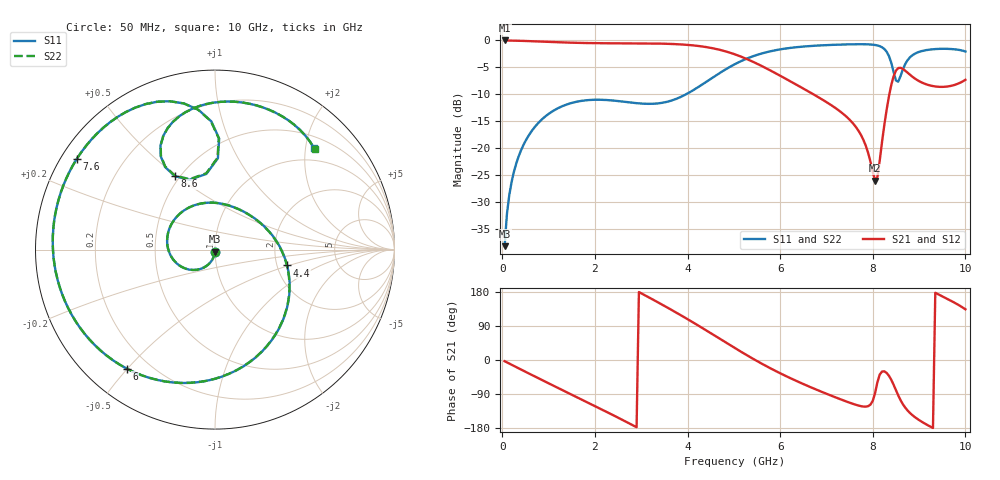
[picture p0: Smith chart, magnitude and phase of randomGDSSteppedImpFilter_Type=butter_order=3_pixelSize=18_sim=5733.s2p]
! freq	dB(S11)	phase(S11)	dB(S12)	phase(S12)
!  dB(S21)	phase(S21)	dB(S22)	phase(S22)
!S-par simulation data
#  GHz  S  DB  R 50
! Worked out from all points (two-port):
!   200 points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, 50 MHz to 10 GHz, reference 50 ohm
!   highest |S21| = -0.01 dB at 50 MHz (marker M1); lowest = -26.0 dB at 8.05 GHz (marker M2)
!   |S21| within 3 dB of the highest: start of sweep to 5.154 GHz
!   lowest |S11| = -38.2 dB at 50 MHz (marker M3), VSWR 1.02, Z = 49.9 - j1.22 ohm
!   |S11| at or under -10 dB: start of sweep to 3.97 GHz
!   |S22| runs from -38.2 to -0.7 dB; largest |S21 - S12| = 0
!   S11 on the Smith chart (normalised r, x): 50 MHz: 1.00, -0.02; 4.4 GHz: 2.27, -0.48; 6 GHz: 0.12, -0.50; 7.6 GHz: 0.04, +0.30; 8.6 GHz: 0.47, +0.49; 10 GHz: 0.73, +2.18
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0.05  -38.22 -92.9  -0.01 -3.2  -0.01 -3.2  -38.22 -92.9
0.1  -32.25 -96.0  -0.01 -6.3  -0.01 -6.3  -32.25 -96.0
0.2  -26.33 -102.4  -0.03 -12.5  -0.03 -12.5  -26.33 -102.4
0.5  -18.70 -121.5  -0.10 -31.0  -0.10 -31.0  -18.70 -121.5
1.15  -12.83 -161.1  -0.32 -70.5  -0.32 -70.5  -12.83 -161.2
1.75  -11.18 163.0  -0.48 -106.4  -0.48 -106.4  -11.18 162.9
2.65  -11.41 108.1  -0.53 -161.5  -0.53 -161.5  -11.41 107.7
3.4  -11.66 59.2  -0.59 149.6  -0.59 149.6  -11.66 58.6
3.95  -10.09 20.8  -0.80 111.4  -0.80 111.4  -10.09 20.2
4.4  -7.72 -12.4  -1.23 78.5  -1.23 78.5  -7.71 -12.8
5.05  -4.29 -61.5  -2.67 29.5  -2.67 29.5  -4.29 -61.8
5.55  -2.56 -97.4  -4.53 -6.1  -4.53 -6.1  -2.55 -97.6
6  -1.66 -126.6  -6.55 -35.0  -6.55 -35.0  -1.66 -126.7
6.7  -1.01 -166.5  -9.92 -74.0  -9.92 -74.0  -1.01 -166.5
7.6  -0.71 146.6  -15.69 -116.9  -15.69 -116.9  -0.71 146.6
8.05  -0.85 119.2  -26.04 -87.3  -26.04 -87.3  -0.85 119.3
8.35  -2.92 91.7  -10.36 -41.7  -10.36 -41.7  -2.90 91.9
8.45  -5.87 88.2  -6.65 -65.4  -6.65 -65.4  -5.82 88.4
8.6  -6.61 118.7  -5.09 -106.0  -5.09 -106.0  -6.56 118.5
8.8  -3.17 114.6  -6.36 -139.4  -6.36 -139.4  -3.16 114.5
9.2  -1.74 90.6  -8.28 -172.9  -8.28 -172.9  -1.73 90.5
10  -2.05 45.6  -7.31 133.8  -7.31 133.8  -2.06 45.4
